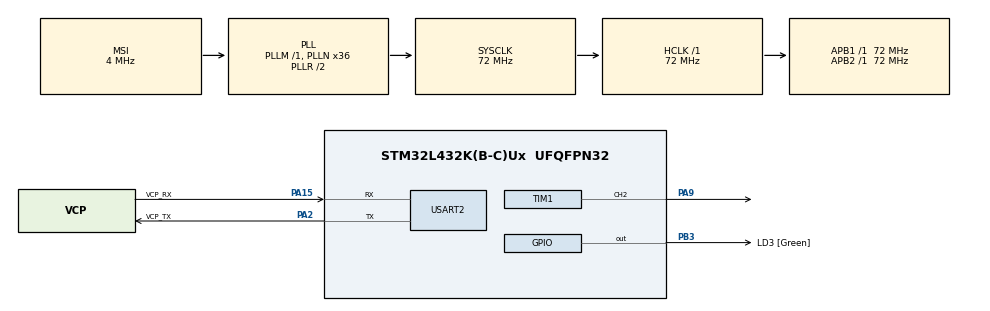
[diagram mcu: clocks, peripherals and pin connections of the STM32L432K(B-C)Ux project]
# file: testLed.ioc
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Dma.Request0=TIM1_CH2
Dma.TIM1_CH2.0.Direction=DMA_MEMORY_TO_PERIPH
Dma.TIM1_CH2.0.Instance=DMA1_Channel3
Dma.TIM1_CH2.0.MemDataAlignment=DMA_MDATAALIGN_HALFWORD
Dma.TIM1_CH2.0.MemInc=DMA_MINC_ENABLE
Dma.TIM1_CH2.0.Mode=DMA_NORMAL
Dma.TIM1_CH2.0.PeriphDataAlignment=DMA_PDATAALIGN_HALFWORD
Dma.TIM1_CH2.0.PeriphInc=DMA_PINC_DISABLE
Dma.TIM1_CH2.0.Priority=DMA_PRIORITY_LOW
Mcu.Family=STM32L4
Mcu.Name=STM32L432K(B-C)Ux
Mcu.Package=UFQFPN32
NVIC.DMA1_Channel3_IRQn=true\:0\:0\:false\:false\:true\:false\:true\:true
NVIC.PriorityGroup=NVIC_PRIORITYGROUP_4
NVIC.TIM1_BRK_TIM15_IRQn=true\:0\:0\:false\:false\:true\:true\:true\:true
PA0.GPIO_Label=MCO [High speed clock in]
PA0.Mode=HSE-External-Clock-Source-for-LittleOrca
PA0.Signal=RCC_CK_IN
PA13\ (JTMS-SWDIO).GPIO_Label=SWDIO
PA13\ (JTMS-SWDIO).Mode=Serial_Wire
PA13\ (JTMS-SWDIO).Signal=SYS_JTMS-SWDIO
PA14\ (JTCK-SWCLK).GPIO_Label=SWCLK
PA14\ (JTCK-SWCLK).Mode=Serial_Wire
PA14\ (JTCK-SWCLK).Signal=SYS_JTCK-SWCLK
PA15\ (JTDI).GPIO_Label=VCP_RX
PA15\ (JTDI).Mode=Asynchronous
PA15\ (JTDI).Signal=USART2_RX
PA2.GPIO_Label=VCP_TX
PA2.Mode=Asynchronous
PA2.Signal=USART2_TX
PA9.Signal=S_TIM1_CH2
PB3\ (JTDO-TRACESWO).GPIO_Label=LD3 [Green]
PB3\ (JTDO-TRACESWO).Signal=GPIO_Output
PC14-OSC32_IN\ (PC14).Mode=LSE-External-Oscillator
PC14-OSC32_IN\ (PC14).Signal=RCC_OSC32_IN
PC15-OSC32_OUT\ (PC15).Mode=LSE-External-Oscillator
PC15-OSC32_OUT\ (PC15).Signal=RCC_OSC32_OUT
ProjectManager.HeapSize=0x200
ProjectManager.StackSize=0x400
ProjectManager.TargetToolchain=STM32CubeIDE
RCC.AHBFreq_Value=72000000
RCC.APB1Freq_Value=72000000
RCC.APB1TimFreq_Value=72000000
RCC.APB2Freq_Value=72000000
RCC.APB2TimFreq_Value=72000000
RCC.CortexFreq_Value=72000000
RCC.HCLKFreq_Value=72000000
RCC.HSE_VALUE=8000000
RCC.HSI16_VALUE=16000000
RCC.HSI48_VALUE=48000000
RCC.HSI_VALUE=16000000
RCC.MSI_VALUE=4000000
RCC.PLLMUL=RCC_PLLMUL_4
RCC.PLLN=36
RCC.SYSCLKFreq_VALUE=72000000
RCC.SYSCLKSource=RCC_SYSCLKSOURCE_PLLCLK
RCC.VCOOutputFreq_Value=144000000
SH.S_TIM1_CH2.0=TIM1_CH2,PWM Generation2 CH2
TIM1.AutoReloadPreload=TIM_AUTORELOAD_PRELOAD_ENABLE
TIM1.Channel-PWM\ Generation2\ CH2=TIM_CHANNEL_2
TIM1.Period=90-1
USART2.VirtualMode-Asynchronous=VM_ASYNC
board=NUCLEO-L432KC

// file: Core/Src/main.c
/* USER CODE BEGIN Header */
/**
  ******************************************************************************
  * @file           : main.c
  * @brief          : Main program body
  ******************************************************************************
  * @attention
  *
  * Copyright (c) 2024 STMicroelectronics.
  * All rights reserved.
  *
  * This software is licensed under terms that can be found in the LICENSE file
  * in the root directory of this software component.
  * If no LICENSE file comes with this software, it is provided AS-IS.
  *
  ******************************************************************************
  */
/* USER CODE END Header */
#include "main.h"
#include "math.h"

/* USER CODE BEGIN PD */
#define TIM_HANDLE  htim1
#define TIM_CHANNEL TIM_CHANNEL_2
#define MAX_LED 10
#define USE_BRIGHTNESS 1
#define PI 3.14159265
/* USER CODE END PD */

TIM_HandleTypeDef htim1;
DMA_HandleTypeDef hdma_tim1_ch2;

UART_HandleTypeDef huart2;

/* USER CODE BEGIN PV */
uint8_t LED_Data[MAX_LED][4];
  uint8_t LED_Mod[MAX_LED][4];
  uint16_t pwmData[(24*MAX_LED)+50];
  int datasentflag = 0;
/* USER CODE END PV */

void SystemClock_Config(void);
static void MX_GPIO_Init(void);
static void MX_DMA_Init(void);
static void MX_USART2_UART_Init(void);
static void MX_TIM1_Init(void);

/* USER CODE BEGIN 0 */
void Set_LED (int LEDnum, int Red, int Green, int Blue);
void Set_Brightness (int brightness);
void WS2812_Send (void);
/* USER CODE END 0 */

int main(void)
{

  /* MCU Configuration--------------------------------------------------------*/

  /* Reset of all peripherals, Initializes the Flash interface and the Systick. */
  HAL_Init();

  /* Configure the system clock */
  SystemClock_Config();

  /* Initialize all configured peripherals */
  MX_GPIO_Init();
  MX_DMA_Init();
  MX_USART2_UART_Init();
  MX_TIM1_Init();
  /* USER CODE BEGIN 2 */
  Set_LED(0, 0, 255, 0);
  Set_LED(2, 0, 255, 0);
  Set_LED(1, 0, 255, 0);
  Set_LED(3, 0, 255, 0);
  Set_LED(4, 0, 255, 0);
  Set_LED(5, 0, 255, 0);
  Set_LED(6, 255, 0, 0);
  Set_LED(7, 255, 0, 0);
  Set_LED(8, 255, 0, 0);
  Set_LED(9, 255, 0, 0);

  Set_Brightness(45);

  WS2812_Send();
  /* USER CODE END 2 */

/* Infinite loop */
  while (1)
  {

  }
}

void SystemClock_Config(void)
{
  RCC_OscInitTypeDef RCC_OscInitStruct = {0};
  RCC_ClkInitTypeDef RCC_ClkInitStruct = {0};

  /** Configure the main internal regulator output voltage
  */
  if (HAL_PWREx_ControlVoltageScaling(PWR_REGULATOR_VOLTAGE_SCALE1) != HAL_OK)
  {
    Error_Handler();
  }

  /** Configure LSE Drive Capability
  */
  HAL_PWR_EnableBkUpAccess();
  __HAL_RCC_LSEDRIVE_CONFIG(RCC_LSEDRIVE_LOW);

  /** Initializes the RCC Oscillators according to the specified parameters
  * in the RCC_OscInitTypeDef structure.
  */
  RCC_OscInitStruct.OscillatorType = RCC_OSCILLATORTYPE_LSE|RCC_OSCILLATORTYPE_MSI;
  RCC_OscInitStruct.LSEState = RCC_LSE_ON;
  RCC_OscInitStruct.MSIState = RCC_MSI_ON;
  RCC_OscInitStruct.MSICalibrationValue = 0;
  RCC_OscInitStruct.MSIClockRange = RCC_MSIRANGE_6;
  RCC_OscInitStruct.PLL.PLLState = RCC_PLL_ON;
  RCC_OscInitStruct.PLL.PLLSource = RCC_PLLSOURCE_MSI;
  RCC_OscInitStruct.PLL.PLLM = 1;
  RCC_OscInitStruct.PLL.PLLN = 36;
  RCC_OscInitStruct.PLL.PLLP = RCC_PLLP_DIV7;
  RCC_OscInitStruct.PLL.PLLQ = RCC_PLLQ_DIV2;
  RCC_OscInitStruct.PLL.PLLR = RCC_PLLR_DIV2;
  if (HAL_RCC_OscConfig(&RCC_OscInitStruct) != HAL_OK)
  {
    Error_Handler();
  }

  /** Initializes the CPU, AHB and APB buses clocks
  */
  RCC_ClkInitStruct.ClockType = RCC_CLOCKTYPE_HCLK|RCC_CLOCKTYPE_SYSCLK
                              |RCC_CLOCKTYPE_PCLK1|RCC_CLOCKTYPE_PCLK2;
  RCC_ClkInitStruct.SYSCLKSource = RCC_SYSCLKSOURCE_PLLCLK;
  RCC_ClkInitStruct.AHBCLKDivider = RCC_SYSCLK_DIV1;
  RCC_ClkInitStruct.APB1CLKDivider = RCC_HCLK_DIV1;
  RCC_ClkInitStruct.APB2CLKDivider = RCC_HCLK_DIV1;

  if (HAL_RCC_ClockConfig(&RCC_ClkInitStruct, FLASH_LATENCY_4) != HAL_OK)
  {
    Error_Handler();
  }

  /** Enable MSI Auto calibration
  */
  HAL_RCCEx_EnableMSIPLLMode();
}

static void MX_TIM1_Init(void)
{

  TIM_MasterConfigTypeDef sMasterConfig = {0};
  TIM_OC_InitTypeDef sConfigOC = {0};
  TIM_BreakDeadTimeConfigTypeDef sBreakDeadTimeConfig = {0};

  htim1.Instance = TIM1;
  htim1.Init.Prescaler = 0;
  htim1.Init.CounterMode = TIM_COUNTERMODE_UP;
  htim1.Init.Period = 90-1;
  htim1.Init.ClockDivision = TIM_CLOCKDIVISION_DIV1;
  htim1.Init.RepetitionCounter = 0;
  htim1.Init.AutoReloadPreload = TIM_AUTORELOAD_PRELOAD_ENABLE;
  if (HAL_TIM_PWM_Init(&htim1) != HAL_OK)
  {
    Error_Handler();
  }
  sMasterConfig.MasterOutputTrigger = TIM_TRGO_RESET;
  sMasterConfig.MasterOutputTrigger2 = TIM_TRGO2_RESET;
  sMasterConfig.MasterSlaveMode = TIM_MASTERSLAVEMODE_DISABLE;
  if (HAL_TIMEx_MasterConfigSynchronization(&htim1, &sMasterConfig) != HAL_OK)
  {
    Error_Handler();
  }
  sConfigOC.OCMode = TIM_OCMODE_PWM1;
  sConfigOC.Pulse = 0;
  sConfigOC.OCPolarity = TIM_OCPOLARITY_HIGH;
  sConfigOC.OCNPolarity = TIM_OCNPOLARITY_HIGH;
  sConfigOC.OCFastMode = TIM_OCFAST_DISABLE;
  sConfigOC.OCIdleState = TIM_OCIDLESTATE_RESET;
  sConfigOC.OCNIdleState = TIM_OCNIDLESTATE_RESET;
  if (HAL_TIM_PWM_ConfigChannel(&htim1, &sConfigOC, TIM_CHANNEL_2) != HAL_OK)
  {
    Error_Handler();
  }
  sBreakDeadTimeConfig.OffStateRunMode = TIM_OSSR_DISABLE;
  sBreakDeadTimeConfig.OffStateIDLEMode = TIM_OSSI_DISABLE;
  sBreakDeadTimeConfig.LockLevel = TIM_LOCKLEVEL_OFF;
  sBreakDeadTimeConfig.DeadTime = 0;
  sBreakDeadTimeConfig.BreakState = TIM_BREAK_DISABLE;
  sBreakDeadTimeConfig.BreakPolarity = TIM_BREAKPOLARITY_HIGH;
  sBreakDeadTimeConfig.BreakFilter = 0;
  sBreakDeadTimeConfig.Break2State = TIM_BREAK2_DISABLE;
  sBreakDeadTimeConfig.Break2Polarity = TIM_BREAK2POLARITY_HIGH;
  sBreakDeadTimeConfig.Break2Filter = 0;
  sBreakDeadTimeConfig.AutomaticOutput = TIM_AUTOMATICOUTPUT_DISABLE;
  if (HAL_TIMEx_ConfigBreakDeadTime(&htim1, &sBreakDeadTimeConfig) != HAL_OK)
  {
    Error_Handler();
  }
  HAL_TIM_MspPostInit(&htim1);

}

static void MX_USART2_UART_Init(void)
{

  huart2.Instance = USART2;
  huart2.Init.BaudRate = 115200;
  huart2.Init.WordLength = UART_WORDLENGTH_8B;
  huart2.Init.StopBits = UART_STOPBITS_1;
  huart2.Init.Parity = UART_PARITY_NONE;
  huart2.Init.Mode = UART_MODE_TX_RX;
  huart2.Init.HwFlowCtl = UART_HWCONTROL_NONE;
  huart2.Init.OverSampling = UART_OVERSAMPLING_16;
  huart2.Init.OneBitSampling = UART_ONE_BIT_SAMPLE_DISABLE;
  huart2.AdvancedInit.AdvFeatureInit = UART_ADVFEATURE_NO_INIT;
  if (HAL_UART_Init(&huart2) != HAL_OK)
  {
    Error_Handler();
  }

}

static void MX_DMA_Init(void)
{

  /* DMA controller clock enable */
  __HAL_RCC_DMA1_CLK_ENABLE();

  /* DMA interrupt init */
  /* DMA1_Channel3_IRQn interrupt configuration */
  HAL_NVIC_SetPriority(DMA1_Channel3_IRQn, 0, 0);
  HAL_NVIC_EnableIRQ(DMA1_Channel3_IRQn);

}

static void MX_GPIO_Init(void)
{
  GPIO_InitTypeDef GPIO_InitStruct = {0};

  /* GPIO Ports Clock Enable */
  __HAL_RCC_GPIOC_CLK_ENABLE();
  __HAL_RCC_GPIOA_CLK_ENABLE();
  __HAL_RCC_GPIOB_CLK_ENABLE();

  /*Configure GPIO pin Output Level */
  HAL_GPIO_WritePin(LD3_GPIO_Port, LD3_Pin, GPIO_PIN_RESET);

  /*Configure GPIO pin : LD3_Pin */
  GPIO_InitStruct.Pin = LD3_Pin;
  GPIO_InitStruct.Mode = GPIO_MODE_OUTPUT_PP;
  GPIO_InitStruct.Pull = GPIO_NOPULL;
  GPIO_InitStruct.Speed = GPIO_SPEED_FREQ_LOW;
  HAL_GPIO_Init(LD3_GPIO_Port, &GPIO_InitStruct);

}

/* USER CODE BEGIN 4 */
void Set_LED (int LEDnum, int Red, int Green, int Blue)
{
	LED_Data[LEDnum][0] = LEDnum;
	LED_Data[LEDnum][1] = Green;
	LED_Data[LEDnum][2] = Red;
	LED_Data[LEDnum][3] = Blue;
}

void Set_Brightness (int brightness)  // 0-45
{
#if USE_BRIGHTNESS

	if (brightness > 45) brightness = 45;
	for (int i=0; i<MAX_LED; i++)
	{
		LED_Mod[i][0] = LED_Data[i][0];
		for (int j=1; j<4; j++)
		{
			float angle = 90-brightness;  // in degrees
			angle = angle*PI / 180;  // in rad
			LED_Mod[i][j] = (LED_Data[i][j])/(tan(angle));
		}
	}

#endif

}

void WS2812_Send (void)
{
	uint32_t indx=0;
	uint32_t color;

	for (int i= 0; i<MAX_LED; i++)
	{
#if USE_BRIGHTNESS
		color = ((LED_Mod[i][1]<<16) | (LED_Mod[i][2]<<8) | (LED_Mod[i][3]));
#else
		color = ((LED_Data[i][1]<<16) | (LED_Data[i][2]<<8) | (LED_Data[i][3]));
#endif

		for (int i=23; i>=0; i--)
		{
			if (color&(1<<i))
			{
				pwmData[indx] = 60;  // 2/3 of 90
			}

			else pwmData[indx] = 30;  // 1/3 of 90

			indx++;
		}

	}

	HAL_UART_Transmit(&huart2, (uint8_t*) pwmData, sizeof(pwmData), HAL_MAX_DELAY);

	for (int i=0; i<50; i++)
	{
		pwmData[indx] = 0;
		indx++;
	}

	HAL_TIM_PWM_Start_DMA(&TIM_HANDLE, TIM_CHANNEL, (uint32_t *)pwmData, sizeof(pwmData) / sizeof(uint16_t));
	while (!datasentflag){};
	datasentflag = 0;
}

void HAL_TIM_PWM_PulseFinishedCallback(TIM_HandleTypeDef *htim)
{
	HAL_TIM_PWM_Stop_DMA(&TIM_HANDLE, TIM_CHANNEL);
	datasentflag=1;
}
/* USER CODE END 4 */

void Error_Handler(void)
{
  __disable_irq();
  while (1)
  {
  }
}
